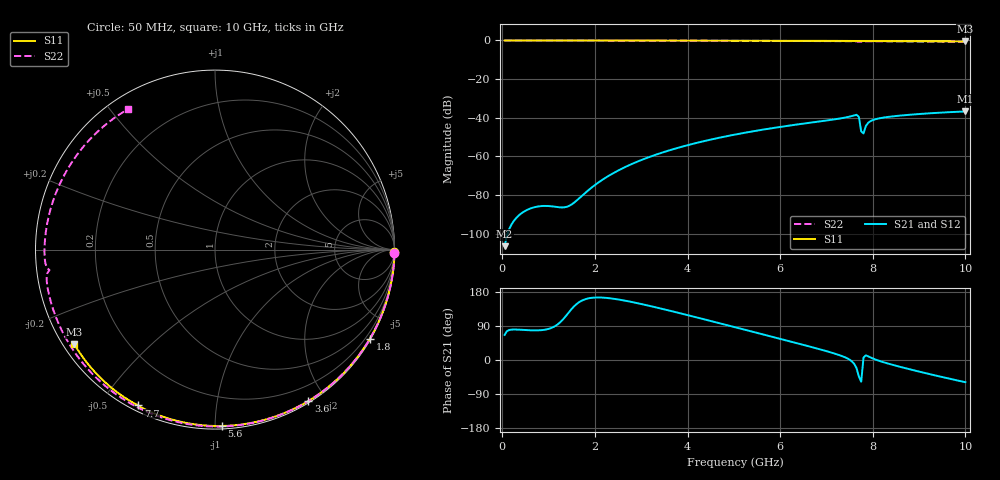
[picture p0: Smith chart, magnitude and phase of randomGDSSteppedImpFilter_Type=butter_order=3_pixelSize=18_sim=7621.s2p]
! freq	dB(S11)	phase(S11)	dB(S12)	phase(S12)
!  dB(S21)	phase(S21)	dB(S22)	phase(S22)
!S-par simulation data
#  GHz  S  DB  R 50
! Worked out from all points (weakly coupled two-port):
!   200 points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, 50 MHz to 10 GHz, reference 50 ohm
!   highest |S21| = -36.71 dB at 10 GHz (marker M1); lowest = -106.4 dB at 50 MHz (marker M2)
!   lowest |S11| = -0.5 dB at 10 GHz (marker M3), VSWR 35.08, Z = 1.56 - j15.3 ohm
!   |S11| at or under -10 dB: nowhere
!   |S22| runs from -0.7 to 0.0 dB; largest |S21 - S12| = 0
!   S11 on the Smith chart (normalised r, x): 50 MHz: open; 1.8 GHz: 0.03, -3.74; 3.6 GHz: 0.02, -1.79; 5.6 GHz: 0.02, -1.04; 7.7 GHz: 0.02, -0.62; 10 GHz: 0.03, -0.31
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0.05  -0.00 -0.8  -106.37 66.1  -106.37 66.1  -0.00 -1.2
0.85  -0.02 -14.3  -85.63 78.8  -85.63 78.8  -0.02 -20.3
1.75  -0.04 -29.1  -79.70 158.5  -79.70 158.5  -0.05 -41.3
1.8  -0.04 -29.9  -78.65 160.7  -78.65 160.7  -0.05 -42.4
2.15  -0.05 -35.6  -72.22 164.8  -72.22 164.8  -0.06 -50.5
2.5  -0.05 -41.2  -67.28 159.8  -67.28 159.8  -0.07 -58.4
2.9  -0.06 -47.6  -62.83 150.4  -62.83 150.4  -0.09 -67.3
3.4  -0.07 -55.3  -58.39 136.5  -58.39 136.5  -0.10 -78.3
3.6  -0.08 -58.4  -56.88 130.6  -56.88 130.6  -0.11 -82.7
4.3  -0.10 -68.9  -52.37 109.2  -52.37 109.2  -0.14 -97.7
5.05  -0.12 -79.9  -48.55 85.8  -48.55 85.8  -0.18 -113.7
5.6  -0.14 -87.7  -46.22 68.5  -46.22 68.5  -0.21 -125.4
6.7  -0.20 -102.8  -42.36 33.5  -42.36 33.5  -0.30 -149.3
7.65  -0.26 -115.6  -38.45 -21.8  -38.45 -21.8  -0.50 -172.0
7.7  -0.28 -116.3  -39.54 -43.7  -39.54 -43.7  -0.63 -172.9
7.75  -0.30 -116.8  -47.02 -57.3  -47.02 -57.3  -0.64 -172.9
7.8  -0.29 -117.4  -48.09 6.3  -48.09 6.3  -0.52 -173.9
7.85  -0.29 -118.0  -44.25 12.3  -44.25 12.3  -0.47 -175.3
7.95  -0.29 -119.4  -41.74 6.7  -41.74 6.7  -0.44 -178.0
8.35  -0.32 -124.6  -39.48 -10.1  -39.48 -10.1  -0.48 171.5
9.2  -0.40 -135.6  -37.71 -36.5  -37.71 -36.5  -0.60 147.5
10  -0.50 -146.0  -36.71 -58.6  -36.71 -58.6  -0.72 121.8
